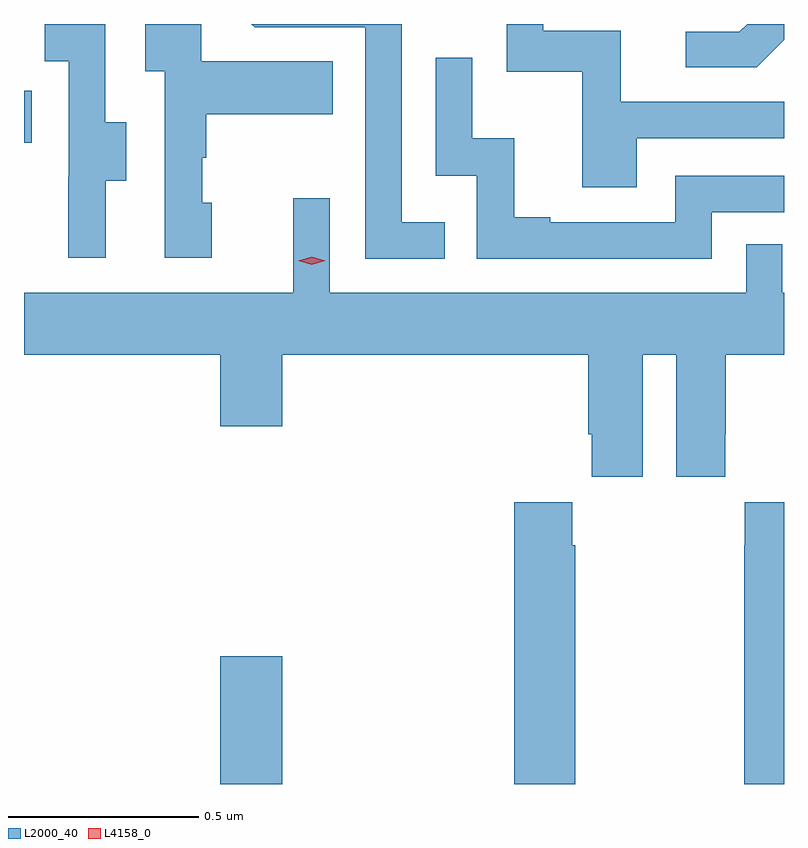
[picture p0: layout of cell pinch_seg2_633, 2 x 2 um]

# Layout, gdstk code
import gdstk
lib = gdstk.Library(unit=1e-6, precision=1e-09)
def R(c, l, rs):  # rectangles x0, y0, x1, y1
    for r in rs: c.add(gdstk.rectangle(r[:2], r[2:], *l))
def P(c, l, *ps):  # polygons
    for p in ps: c.add(gdstk.Polygon(p, *l))
L2000_40 = (2000, 40)
L4158_0 = (4158, 0)

pinch_seg2_633 = lib.new_cell('pinch_seg2_633')
R(pinch_seg2_633, L2000_40, [(1028.144,621.199,1028.308,621.535), (1027.628,622.886,1027.649,623.023)])
P(pinch_seg2_633, L2000_40, [(1029.241,622.899),(1029.628,622.899),(1029.628,622.995),(1029.199,622.995),(1029.199,623.181),(1028.994,623.181),(1028.994,623.199),(1028.898,623.199),(1028.898,623.073),(1029.097,623.073),(1029.097,622.77),(1029.241,622.77)],
  [(1027.843,622.786),(1027.897,622.786),(1027.897,622.941),(1027.842,622.941),(1027.842,623.199),(1027.683,623.199),(1027.683,623.101),(1027.746,623.101),(1027.746,622.797),(1027.745,622.797),(1027.745,622.584),(1027.843,622.584)],
  [(1028.735,622.677),(1028.622,622.677),(1028.622,623.199),(1028.226,623.199),(1028.235,623.19),(1028.526,623.19),(1028.526,622.581),(1028.735,622.581)],
  [(1028.122,622.728),(1028.097,622.728),(1028.097,622.847),(1028.107,622.847),(1028.107,622.961),(1028.441,622.961),(1028.441,623.101),(1028.094,623.101),(1028.094,623.199),(1027.947,623.199),(1027.947,623.075),(1027.998,623.075),(1027.998,622.584),(1028.122,622.584)],
  [(1029.628,623.157),(1029.628,623.199),(1029.531,623.199),(1029.51,623.178),(1029.369,623.178),(1029.369,623.085),(1029.556,623.085)],
  [(1029.438,622.704),(1029.628,622.704),(1029.628,622.8),(1029.342,622.8),(1029.342,622.677),(1029.013,622.677),(1029.013,622.69),(1028.918,622.69),(1028.918,622.898),(1028.808,622.898),(1028.808,623.11),(1028.712,623.11),(1028.712,622.8),(1028.82,622.8),(1028.82,622.581),(1029.438,622.581)],
  [(1029.256,622.328),(1029.344,622.328),(1029.344,622.008),(1029.474,622.008),(1029.474,622.12),(1029.475,622.12),(1029.475,622.328),(1029.628,622.328),(1029.628,622.492),(1029.624,622.492),(1029.624,622.619),(1029.528,622.619),(1029.528,622.492),(1028.433,622.492),(1028.433,622.741),(1028.336,622.741),(1028.336,622.492),(1027.628,622.492),(1027.628,622.328),(1028.144,622.328),(1028.144,622.14),(1028.308,622.14),(1028.308,622.328),(1029.113,622.328),(1029.113,622.12),(1029.122,622.12),(1029.122,622.008),(1029.256,622.008)],
  [(1029.078,621.827),(1029.071,621.827),(1029.071,621.94),(1028.918,621.94),(1028.918,621.199),(1029.078,621.199)],
  [(1029.628,621.94),(1029.525,621.94),(1029.525,621.827),(1029.523,621.827),(1029.523,621.199),(1029.628,621.199)])
P(pinch_seg2_633, L4158_0, [(1028.385,622.566),(1028.35,622.576),(1028.35,622.576),(1028.35,622.576),(1028.385,622.586),(1028.421,622.576),(1028.421,622.576),(1028.421,622.576)])

lib.write_gds('pinch_seg2_633.gds')
